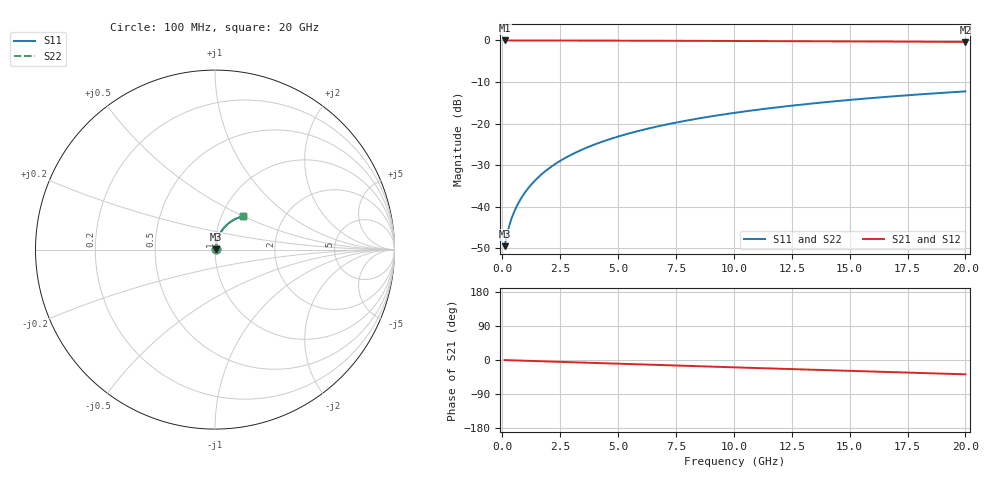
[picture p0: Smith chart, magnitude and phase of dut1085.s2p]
! Touchstone file exported from HFSS 2026.1.0
!  File:  C:/ffzhzh/LocalFiles/Ansys_Project_Files/temp_train_TMRDL_1085_1783160974_55132.aedt
!  Generated:  06:30:46 PM Jul  4, 2026
!  Design:  TMRDL
!  Project:  temp_train_TMRDL_1085_1783160974_55132
! Variables:
!  h_bsmrdl = 2um
!  h_ox = 20um
!  h_rdl = 5um
!  h_sub = 80um
!  h_tmrdl = 3.03um
!  h_tsv = 80um
!  h_via = 3um
!  l_bsmrdl = 300um
!  l_sub = 999.99um
!  l_tmrdl = 599.99um
!  m_sub = 200um
!  pitch = 41.98um
!  r_tsv = 6um
!  s_tmrdl = 10um
!  w_bsmrdl = 18um
!  w_sub = 500um
!  w_tmrdl = 27.15um
!  x_tsv_center1 = 613.565um
!  x_tsv_center2 = 931.565um
!  x_tsv_center3 = 1558.705um
!  x_tsv_center4 = 1876.705um
!  x_tsv_center5 = 2503.845um
!  x_tsv_center6 = 2821.845um
# GHz S MA R 50.000000
! Terminal data exported
! Port[1] = TM_RDL1_1_T1
! Port[2] = TM_RDL1_1_T2
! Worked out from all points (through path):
!   200 points, 100 MHz to 20 GHz, reference 50 ohm
!   highest |S21| = -0.03 dB at 100 MHz (marker M1); lowest = -0.4 dB at 20 GHz (marker M2)
!   group delay of S21, straight-line fit = 5.24 ps
!   lowest |S11| = -49.5 dB at 100 MHz (marker M3), VSWR 1.01, Z = 50.3 + j0.174 ohm
!   |S11| at or under -10 dB: start of sweep to end of sweep
!   |S22| runs from -49.5 to -12.3 dB; largest |S21 - S12| = 3.9e-15
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0.1  0.003357 31.0  0.9971 -0.2  0.9971 -0.2  0.003357 31.0
! Gamma 0 0 0 0
! Port Impedance 50 0 50 0
0.2  0.004562 47.2  0.9969 -0.4  0.9969 -0.4  0.004562 47.2
0.3  0.005894 55.4  0.9967 -0.6  0.9967 -0.6  0.005894 55.4
0.4  0.007218 60.3  0.9965 -0.8  0.9965 -0.8  0.007218 60.3
0.5  0.008525 63.7  0.9963 -1.0  0.9963 -1.0  0.008525 63.7
0.6  0.009826 66.3  0.9962 -1.2  0.9962 -1.2  0.009826 66.3
0.8  0.01245 70.1  0.996 -1.6  0.996 -1.6  0.01244 70.1
1.1  0.01644 73.5  0.9958 -2.2  0.9958 -2.2  0.01644 73.5
1.3  0.01914 75.0  0.9957 -2.6  0.9957 -2.6  0.01914 75.0
1.6  0.02323 76.4  0.9955 -3.2  0.9955 -3.2  0.02323 76.4
2.1  0.0301 77.5  0.9952 -4.1  0.9952 -4.1  0.0301 77.5
2.7  0.03837 77.9  0.9947 -5.3  0.9947 -5.3  0.03837 77.9
3.5  0.04936 77.5  0.9939 -6.9  0.9939 -6.9  0.04936 77.5
4.2  0.05892 76.7  0.9931 -8.2  0.9931 -8.2  0.05892 76.8
5  0.06974 75.7  0.9921 -9.8  0.9921 -9.8  0.06974 75.7
5.9  0.08176 74.3  0.9907 -11.5  0.9907 -11.5  0.08176 74.3
6.8  0.09361 72.8  0.9892 -13.3  0.9892 -13.3  0.09361 72.8
8.3  0.1129 70.2  0.9864 -16.1  0.9864 -16.1  0.1129 70.2
10.1  0.1354 67.0  0.9827 -19.5  0.9827 -19.5  0.1354 67.1
13.4  0.1744 61.2  0.9752 -25.7  0.9752 -25.7  0.1744 61.2
16.7  0.2105 55.4  0.9671 -31.8  0.9671 -31.8  0.2105 55.4
20  0.2436 49.6  0.9586 -37.8  0.9586 -37.8  0.2436 49.7
